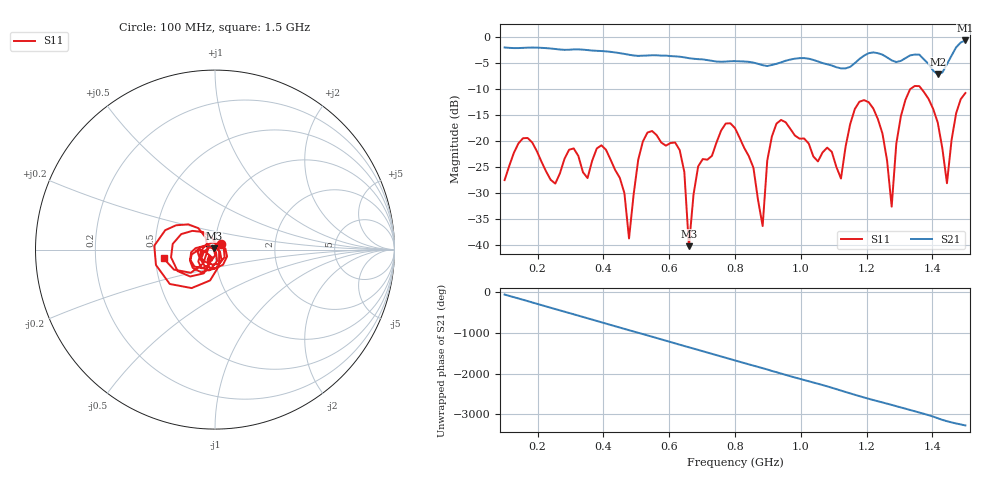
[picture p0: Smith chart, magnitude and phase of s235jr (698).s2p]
! NanoVNA-App
! Date: 2025-09-25 15:09:36
! Start: 100MHz Stop: 1,5GHz Points: 101
! S-Parameter data: F S11 S21 S12 S22
# Hz S RI R 50
!  Frequency  S11_Real  S11_Imag  S21_Real  S21_Imag  S12_Real  S12_Imag  S22_Real  S22_Imag
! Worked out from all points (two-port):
!   101 points, 100 MHz to 1.5 GHz, reference 50 ohm
!   highest |S21| = -0.62 dB at 1.5 GHz (marker M1); lowest = -7.2 dB at 1.416 GHz (marker M2)
!   |S21| within 3 dB of the highest: start of sweep to 603.1 MHz; 1.19 GHz to 1.255 GHz (64.9 MHz wide, 5.31 % of centre) (the widest 2 of 4)
!   lowest |S11| = -40.2 dB at 660 MHz (marker M3), VSWR 1.02, Z = 49.2 + j0.614 ohm
!   |S11| at or under -10 dB: start of sweep to 1.332 GHz; 1.367 GHz to end of sweep
!   S12 and S22 are empty: the file has one direction only
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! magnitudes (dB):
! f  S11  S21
! 100 MHz  -27.5  -2.0
! 156 MHz  -19.4  -2.0
! 338 MHz  -25.9  -2.4
! 408 MHz  -21.6  -2.7
! 478 MHz  -38.7  -3.4
! 520 MHz  -20.1  -3.5
! 576 MHz  -20.2  -3.5
! 632 MHz  -21.7  -3.7
! 660 MHz  -40.2  -4.0
! 688 MHz  -24.8  -4.2
! 800 MHz  -17.5  -4.6
! 884 MHz  -36.3  -5.4
! 926 MHz  -16.6  -5.1
! 1.038 GHz  -22.9  -4.4
! 1.122 GHz  -27.2  -6.0
! 1.206 GHz  -12.5  -3.1
! 1.276 GHz  -32.6  -4.4
! 1.29 GHz  -20.5  -4.8
! 1.332 GHz  -10.0  -3.5
! 1.416 GHz  -16.4  -7.2
! 1.444 GHz  -28.1  -5.2
! 1.5 GHz  -10.7  -0.6
